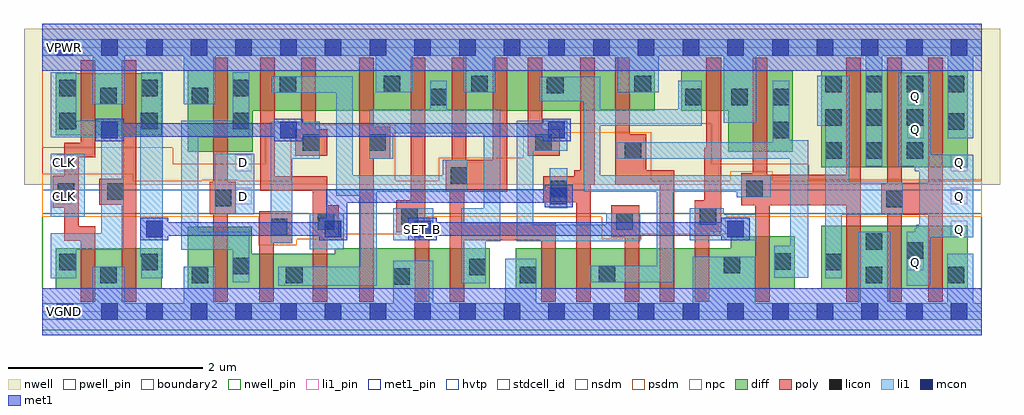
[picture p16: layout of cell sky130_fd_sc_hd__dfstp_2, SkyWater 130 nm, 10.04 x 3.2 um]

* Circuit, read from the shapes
.subckt sky130_fd_sc_hd__dfstp_2 CLK D Q SET_B VGND VNB VPB VPWR
XM1 VGND CLK n1 VNB sky130_fd_pr__nfet_01v8 w=0.42 l=0.15
XM2 n2 n1 VGND VNB sky130_fd_pr__nfet_01v8 w=0.42 l=0.15
XM3 n3 D VGND VNB sky130_fd_pr__nfet_01v8 w=0.64 l=0.15
XM4 n4 n1 n3 VNB sky130_fd_pr__nfet_01v8 w=0.36 l=0.15
XM5 n5 n2 n4 VNB sky130_fd_pr__nfet_01v8 w=0.36 l=0.15
XM6 VGND n6 n5 VNB sky130_fd_pr__nfet_01v8 w=0.42 l=0.15
XM7 n7 SET_B VGND VNB sky130_fd_pr__nfet_01v8 w=0.42 l=0.15
XM8 n6 n4 n7 VNB sky130_fd_pr__nfet_01v8 w=0.42 l=0.15
XM9 n8 n4 VGND VNB sky130_fd_pr__nfet_01v8 w=0.42 l=0.15
XM10 n9 n2 n8 VNB sky130_fd_pr__nfet_01v8 w=0.42 l=0.15
XM11 n10 n1 n9 VNB sky130_fd_pr__nfet_01v8 w=0.42 l=0.15
XM12 n11 n12 n10 VNB sky130_fd_pr__nfet_01v8 w=0.42 l=0.15
XM13 VGND SET_B n11 VNB sky130_fd_pr__nfet_01v8 w=0.42 l=0.15
XM14 n12 n9 VGND VNB sky130_fd_pr__nfet_01v8 w=0.54 l=0.15
XM15 VGND n9 n13 VNB sky130_fd_pr__nfet_01v8 w=0.65 l=0.15
XM16 Q n13 VGND VNB sky130_fd_pr__nfet_01v8 w=0.65 l=0.15 m=2
XM17 VPWR CLK n1 VPB sky130_fd_pr__pfet_01v8_hvt w=0.64 l=0.15
XM18 n2 n1 VPWR VPB sky130_fd_pr__pfet_01v8_hvt w=0.64 l=0.15
XM19 n3 D VPWR VPB sky130_fd_pr__pfet_01v8_hvt w=0.84 l=0.15
XM20 n4 n2 n3 VPB sky130_fd_pr__pfet_01v8_hvt w=0.42 l=0.15
XM21 n14 n1 n4 VPB sky130_fd_pr__pfet_01v8_hvt w=0.42 l=0.15
XM22 VPWR n6 n14 VPB sky130_fd_pr__pfet_01v8_hvt w=0.42 l=0.15
XM23 n6 SET_B VPWR VPB sky130_fd_pr__pfet_01v8_hvt w=0.42 l=0.15
XM24 VPWR n4 n6 VPB sky130_fd_pr__pfet_01v8_hvt w=0.42 l=0.15
XM25 n15 n4 VPWR VPB sky130_fd_pr__pfet_01v8_hvt w=0.42 l=0.15
XM26 n9 n1 n15 VPB sky130_fd_pr__pfet_01v8_hvt w=0.42 l=0.15
XM27 n16 n2 n9 VPB sky130_fd_pr__pfet_01v8_hvt w=0.42 l=0.15
XM28 VPWR n12 n16 VPB sky130_fd_pr__pfet_01v8_hvt w=0.42 l=0.15
XM29 VPWR SET_B n9 VPB sky130_fd_pr__pfet_01v8_hvt w=0.42 l=0.15
XM30 n12 n9 VPWR VPB sky130_fd_pr__pfet_01v8_hvt w=0.84 l=0.15
XM31 VPWR n9 n13 VPB sky130_fd_pr__pfet_01v8_hvt w=1 l=0.15
XM32 Q n13 VPWR VPB sky130_fd_pr__pfet_01v8_hvt w=1 l=0.15 m=2
.ends

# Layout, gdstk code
import gdstk
lib = gdstk.Library(unit=1e-6, precision=1e-09)
def R(c, l, rs):  # rectangles x0, y0, x1, y1
    for r in rs: c.add(gdstk.rectangle(r[:2], r[2:], *l))
def A(c, l, x, y, w, h, nx, ny, dx, dy):  # array of equal rectangles
    R(c, l, [(x+i*dx, y+j*dy, x+i*dx+w, y+j*dy+h) for i in range(nx) for j in range(ny)])
def P(c, l, *ps):  # polygons
    for p in ps: c.add(gdstk.Polygon(p, *l))
nwell_pin = (64, 16)
nwell = (64, 20)
diff = (65, 20)
poly = (66, 20)
licon = (66, 44)
li1_pin = (67, 16)
li1 = (67, 20)
mcon = (67, 44)
met1_pin = (68, 16)
met1 = (68, 20)
hvtp = (78, 44)
stdcell_id = (81, 4)
nsdm = (93, 44)
psdm = (94, 20)
npc = (95, 20)
pwell_pin = (122, 16)
boundary2 = (236, 0)

sky130_fd_sc_hd__dfstp_2 = lib.new_cell('sky130_fd_sc_hd__dfstp_2')
R(sky130_fd_sc_hd__dfstp_2, nwell_pin, [(0.145,2.635,0.315,2.805), (0.145,2.635,0.315,2.805)])
R(sky130_fd_sc_hd__dfstp_2, nwell, [(-0.19,1.305,9.85,2.91)])
R(sky130_fd_sc_hd__dfstp_2, diff, [(0.135,0.235,1.225,0.655), (8.01,0.235,9.52,0.885), (8.01,1.485,9.52,2.485), (0.135,1.815,1.225,2.455)])
P(sky130_fd_sc_hd__dfstp_2, diff, [(7.74,0.775),(7.08,0.775),(7.08,0.655),(4.87,0.655),(4.87,0.235),(7.74,0.235)],
  [(7.72,2.485),(6.57,2.485),(6.57,2.065),(7.055,2.065),(7.055,1.645),(7.72,1.645)],
  [(6.3,2.485),(1.495,2.485),(1.495,1.645),(2.165,1.645),(2.165,2.065),(6.3,2.065)],
  [(4.6,0.655),(3.005,0.655),(3.005,0.595),(2.155,0.595),(2.155,0.875),(1.495,0.875),(1.495,0.235),(4.6,0.235)])
P(sky130_fd_sc_hd__dfstp_2, poly, [(3.98,0.965),(3.94,0.965),(3.94,2.615),(3.79,2.615),(3.79,1.145),(3.64,1.145),(3.64,0.815),(3.83,0.815),(3.83,0.105),(3.98,0.105)],
  [(9.26,2.615),(9.11,2.615),(9.11,1.325),(8.84,1.325),(8.84,2.615),(8.69,2.615),(8.69,1.325),(8.63,1.325),(8.63,0.995),(8.69,0.995),(8.69,0.105),(8.84,0.105),(8.84,0.995),(9.11,0.995),(9.11,0.105),(9.26,0.105)],
  [(8.42,2.615),(8.27,2.615),(8.27,1.41),(7.455,1.41),(7.455,2.615),(7.305,2.615),(7.305,1.425),(7.19,1.425),(7.19,1.095),(7.33,1.095),(7.33,0.105),(7.48,0.105),(7.48,1.095),(8.27,1.095),(8.27,0.105),(8.42,0.105)],
  [(6.98,2.615),(6.83,2.615),(6.83,1.685),(6.81,1.685),(6.81,1.145),(6.71,1.145),(6.71,0.105),(6.86,0.105),(6.86,0.815),(6.98,0.815)],
  [(6.5,1.455),(6.21,1.455),(6.21,1.825),(6.04,1.825),(6.04,2.615),(5.89,2.615),(5.89,1.305),(6.35,1.305),(6.35,0.105),(6.5,0.105)],
  [(6.14,1.095),(5.85,1.095),(5.85,0.765),(5.99,0.765),(5.99,0.105),(6.14,0.105)],
  [(5.68,2.615),(5.53,2.615),(5.53,1.455),(5.47,1.455),(5.47,1.395),(5.15,1.395),(5.15,1.125),(5.49,1.125),(5.49,0.105),(5.64,0.105),(5.64,1.305),(5.68,1.305)],
  [(5.32,1.875),(5.14,1.875),(5.14,2.615),(4.99,2.615),(4.99,1.605),(5.32,1.605)],
  [(5.28,0.915),(4.34,0.915),(4.34,1.235),(4.78,1.235),(4.78,2.615),(4.63,2.615),(4.63,1.565),(4.36,1.565),(4.36,2.615),(4.21,2.615),(4.21,1.565),(4.15,1.565),(4.15,1.235),(4.19,1.235),(4.19,0.105),(4.34,0.105),(4.34,0.735),(5.13,0.735),(5.13,0.105),(5.28,0.105)],
  [(3.58,1.905),(3.41,1.905),(3.41,2.615),(3.26,2.615),(3.26,0.105),(3.41,0.105),(3.41,1.575),(3.58,1.575)],
  [(3.05,1.095),(2.93,1.095),(2.93,1.395),(2.39,1.395),(2.39,2.615),(2.24,2.615),(2.24,1.245),(2.78,1.245),(2.78,0.105),(2.93,0.105),(2.93,0.765),(3.05,0.765)],
  [(2.93,1.875),(2.81,1.875),(2.81,2.615),(2.66,2.615),(2.66,1.875),(2.6,1.875),(2.6,1.605),(2.93,1.605)],
  [(2.57,1.035),(2.23,1.035),(2.23,0.105),(2.38,0.105),(2.38,0.705),(2.57,0.705)],
  [(1.99,1.335),(1.905,1.335),(1.905,2.615),(1.755,2.615),(1.755,1.335),(1.72,1.335),(1.72,1.005),(1.755,1.005),(1.755,0.105),(1.905,0.105),(1.905,1.005),(1.99,1.005)],
  [(0.965,2.585),(0.815,2.585),(0.815,1.37),(0.585,1.37),(0.585,1.1),(0.815,1.1),(0.815,0.105),(0.965,0.105)],
  [(0.545,0.88),(0.375,0.88),(0.375,1.59),(0.545,1.59),(0.545,2.585),(0.395,2.585),(0.395,1.74),(0.225,1.74),(0.225,1.4),(0.105,1.4),(0.105,1.07),(0.225,1.07),(0.225,0.73),(0.395,0.73),(0.395,0.105),(0.545,0.105)])
A(sky130_fd_sc_hd__dfstp_2, licon, 8.05, 1.575, 0.17, 0.17, 3, 2, 0.42, 0.34)
A(sky130_fd_sc_hd__dfstp_2, licon, 8.05, 2.255, 0.17, 0.17, 4, 1, 0.42, 0)
R(sky130_fd_sc_hd__dfstp_2, licon, [(3.61,0.275,3.78,0.445), (0.595,0.295,0.765,0.465), (1.535,0.295,1.705,0.465), (2.505,0.295,2.675,0.465), (4.91,0.295,5.08,0.465), (8.47,0.295,8.64,0.465), (9.31,0.295,9.48,0.465), (5.72,0.305,5.89,0.475), (4.39,0.375,4.56,0.545), (1.955,0.385,2.125,0.555), (7.01,0.395,7.18,0.565), (0.175,0.425,0.345,0.595), (1.015,0.425,1.185,0.595), (8.05,0.425,8.22,0.595), (7.53,0.43,7.7,0.6), (8.89,0.545,9.06,0.715), (8.47,0.635,8.64,0.805), (2.35,0.785,2.52,0.955), (2.83,0.845,3,1.015), (5.9,0.845,6.07,1.015), (3.69,0.895,3.86,1.065), (6.76,0.895,6.93,1.065), (8.68,1.075,8.85,1.245), (1.77,1.085,1.94,1.255), (0.155,1.15,0.325,1.32), (0.665,1.15,0.835,1.32), (5.23,1.175,5.4,1.345), (7.24,1.175,7.41,1.345), (4.2,1.315,4.37,1.485), (5.99,1.575,6.16,1.745), (2.68,1.655,2.85,1.825), (3.36,1.655,3.53,1.825), (5.07,1.655,5.24,1.825), (7.51,1.785,7.68,1.955), (9.31,1.87,9.48,2.04), (0.175,1.875,0.345,2.045), (1.015,1.875,1.185,2.045), (1.955,1.875,2.125,2.045), (3.99,2.125,4.16,2.295), (6.61,2.125,6.78,2.295), (7.085,2.125,7.255,2.295), (7.51,2.125,7.68,2.295), (0.595,2.135,0.765,2.305), (1.535,2.135,1.705,2.305), (0.175,2.215,0.345,2.385), (1.015,2.215,1.185,2.385), (1.955,2.215,2.125,2.385), (5.19,2.245,5.36,2.415), (2.44,2.25,2.61,2.42), (3.51,2.255,3.68,2.425), (4.41,2.255,4.58,2.425), (6.09,2.255,6.26,2.425)])
A(sky130_fd_sc_hd__dfstp_2, li1_pin, 9.345, 0.765, 0.17, 0.17, 1, 3, 0, 0.34)
R(sky130_fd_sc_hd__dfstp_2, li1_pin, [(0.145,-0.085,0.315,0.085), (8.895,0.425,9.065,0.595), (3.825,0.765,3.995,0.935), (0.145,1.105,0.315,1.275), (1.985,1.105,2.155,1.275), (0.145,1.445,0.315,1.615), (1.985,1.445,2.155,1.615), (8.895,1.785,9.065,1.955), (8.895,2.125,9.065,2.295), (0.145,2.635,0.315,2.805)])
R(sky130_fd_sc_hd__dfstp_2, li1, [(2.75,0.645,3.1,1.015), (3.61,0.735,4.02,1.065), (0.085,0.975,0.435,1.625), (1.77,1.005,2.18,1.625), (5.22,1.065,5.4,1.475)])
P(sky130_fd_sc_hd__dfstp_2, li1, [(7.88,1.765),(7.68,1.765),(7.68,2.375),(7.51,2.375),(7.51,1.745),(5.91,1.745),(5.91,1.575),(7.69,1.575),(7.69,0.68),(7.53,0.68),(7.53,0.35),(7.88,0.35)],
  [(8.85,1.325),(8.3,1.325),(8.3,2.425),(7.97,2.425),(7.97,1.915),(8.05,1.915),(8.05,0.345),(8.22,0.345),(8.22,0.995),(8.85,0.995)],
  [(9.66,0.085),(9.575,0.085),(9.575,0.595),(9.305,0.595),(9.305,0.085),(8.72,0.085),(8.72,0.825),(8.39,0.825),(8.39,0.085),(7.33,0.085),(7.33,0.565),(6.69,0.565),(6.69,0.085),(5.08,0.085),(5.08,0.545),(4.76,0.545),(4.76,0.085),(4.02,0.085),(4.02,0.525),(3.61,0.525),(3.61,0.085),(1.785,0.085),(1.785,0.465),(1.455,0.465),(1.455,0.085),(0.845,0.085),(0.845,0.465),(0.515,0.465),(0.515,0.085),(0,0.085),(0,-0.085),(9.66,-0.085)],
  [(7.49,1.405),(5.74,1.405),(5.74,1.915),(6.78,1.915),(6.78,2.375),(6.54,2.375),(6.54,2.085),(5.74,2.085),(5.74,2.415),(5.11,2.415),(5.11,2.165),(5.57,2.165),(5.57,1.235),(6.32,1.235),(6.32,0.475),(5.64,0.475),(5.64,0.305),(6.49,0.305),(6.49,1.235),(7.14,1.235),(7.14,1.175),(7.49,1.175)],
  [(7.34,1.005),(7.01,1.005),(7.01,1.065),(6.66,1.065),(6.66,0.735),(7.34,0.735)],
  [(6.15,1.015),(5.8,1.015),(5.8,0.895),(5.05,0.895),(5.05,1.655),(5.4,1.655),(5.4,1.965),(4.88,1.965),(4.88,0.725),(6.15,0.725)],
  [(9.66,2.805),(0,2.805),(0,2.635),(0.515,2.635),(0.515,2.135),(0.845,2.135),(0.845,2.635),(1.455,2.635),(1.455,2.135),(1.785,2.135),(1.785,2.635),(3.43,2.635),(3.43,2.255),(3.81,2.255),(3.81,2.635),(4.33,2.635),(4.33,2.255),(4.66,2.255),(4.66,2.635),(5.92,2.635),(5.92,2.255),(6.34,2.255),(6.34,2.635),(7.01,2.635),(7.01,1.945),(7.34,1.945),(7.34,2.635),(8.47,2.635),(8.47,1.495),(8.64,1.495),(8.64,2.635),(9.31,2.635),(9.31,1.785),(9.575,1.785),(9.575,2.635),(9.66,2.635)],
  [(4.71,2.085),(4.16,2.085),(4.16,2.375),(3.99,2.375),(3.99,2.085),(3.36,2.085),(3.36,1.575),(3.61,1.575),(3.61,1.835),(4.54,1.835),(4.54,1.065),(4.31,1.065),(4.31,0.295),(4.56,0.295),(4.56,0.725),(4.71,0.725)],
  [(4.37,1.565),(4.12,1.565),(4.12,1.405),(3.19,1.405),(3.19,2.42),(2.36,2.42),(2.36,2.25),(3.02,2.25),(3.02,1.195),(3.27,1.195),(3.27,0.465),(2.425,0.465),(2.425,0.265),(3.44,0.265),(3.44,1.235),(4.37,1.235)],
  [(2.85,1.955),(2.35,1.955),(2.35,0.705),(2.57,0.705),(2.57,1.575),(2.85,1.575)],
  [(2.125,0.825),(1.6,0.825),(1.6,1.795),(2.125,1.795),(2.125,2.465),(1.955,2.465),(1.955,1.965),(1.43,1.965),(1.43,0.635),(1.955,0.635),(1.955,0.305),(2.125,0.305)],
  [(0.835,1.965),(0.345,1.965),(0.345,2.465),(0.085,2.465),(0.085,1.795),(0.605,1.795),(0.605,0.805),(0.085,0.805),(0.085,0.345),(0.345,0.345),(0.345,0.635),(0.835,0.635)],
  [(1.235,2.465),(1.015,2.465),(1.015,2.045),(1.005,2.045),(1.005,0.565),(1.015,0.565),(1.015,0.345),(1.235,0.345)],
  [(9.575,1.615),(9.14,1.615),(9.14,2.46),(8.81,2.46),(8.81,1.495),(8.975,1.495),(8.975,1.445),(9.02,1.445),(9.02,0.895),(8.99,0.895),(8.99,0.855),(8.975,0.855),(8.975,0.825),(8.89,0.825),(8.89,0.265),(9.135,0.265),(9.135,0.765),(9.575,0.765)])
A(sky130_fd_sc_hd__dfstp_2, mcon, 0.145, -0.085, 0.17, 0.17, 21, 2, 0.46, 2.72)
R(sky130_fd_sc_hd__dfstp_2, mcon, [(1.065,0.765,1.235,0.935), (2.905,0.765,3.075,0.935), (3.825,0.765,3.995,0.935), (7.045,0.765,7.215,0.935), (5.225,1.105,5.395,1.275), (0.605,1.785,0.775,1.955), (2.445,1.785,2.615,1.955), (5.205,1.785,5.375,1.955)])
R(sky130_fd_sc_hd__dfstp_2, met1_pin, [(0.145,-0.085,0.315,0.085), (0.145,2.635,0.315,2.805)])
R(sky130_fd_sc_hd__dfstp_2, met1, [(0,-0.24,9.66,0.24), (0,2.48,9.66,2.96)])
P(sky130_fd_sc_hd__dfstp_2, met1, [(7.275,0.965),(6.985,0.965),(6.985,0.92),(4.055,0.92),(4.055,0.965),(3.765,0.965),(3.765,0.735),(4.055,0.735),(4.055,0.78),(6.985,0.78),(6.985,0.735),(7.275,0.735)],
  [(5.455,1.305),(5.165,1.305),(5.165,1.26),(2.92,1.26),(2.92,0.965),(2.845,0.965),(2.845,0.92),(1.295,0.92),(1.295,0.965),(1.005,0.965),(1.005,0.735),(1.295,0.735),(1.295,0.78),(2.845,0.78),(2.845,0.735),(3.135,0.735),(3.135,1.12),(5.165,1.12),(5.165,1.075),(5.455,1.075)],
  [(5.435,1.985),(5.145,1.985),(5.145,1.94),(2.675,1.94),(2.675,1.985),(2.385,1.985),(2.385,1.94),(0.835,1.94),(0.835,1.985),(0.545,1.985),(0.545,1.755),(0.835,1.755),(0.835,1.8),(2.385,1.8),(2.385,1.755),(2.675,1.755),(2.675,1.8),(5.145,1.8),(5.145,1.755),(5.435,1.755)])
R(sky130_fd_sc_hd__dfstp_2, hvtp, [(0,1.25,9.66,2.72)])
R(sky130_fd_sc_hd__dfstp_2, stdcell_id, [(0,0,9.66,2.72)])
R(sky130_fd_sc_hd__dfstp_2, nsdm, [(0,-0.19,9.66,1.015)])
P(sky130_fd_sc_hd__dfstp_2, psdm, [(9.66,2.91),(0,2.91),(0,1.685),(1.34,1.685),(1.34,1.515),(2.295,1.515),(2.295,1.935),(6.88,1.935),(6.88,1.515),(7.88,1.515),(7.88,1.355),(9.66,1.355)])
P(sky130_fd_sc_hd__dfstp_2, npc, [(9.66,1.345),(7.51,1.345),(7.51,1.445),(7.075,1.445),(7.075,1.345),(6.26,1.345),(6.26,1.845),(5.34,1.845),(5.34,1.925),(4.945,1.925),(4.945,1.585),(4.075,1.585),(4.075,1.345),(3.63,1.345),(3.63,1.925),(2.555,1.925),(2.555,1.345),(2.015,1.345),(2.015,1.355),(1.645,1.355),(1.645,1.345),(0.935,1.345),(0.935,1.42),(0,1.42),(0,0.975),(2.225,0.975),(2.225,0.685),(2.615,0.685),(2.615,0.745),(3.09,0.745),(3.09,0.795),(3.96,0.795),(3.96,0.975),(5.755,0.975),(5.755,0.745),(6.16,0.745),(6.16,0.795),(7.03,0.795),(7.03,0.975),(9.66,0.975)])
R(sky130_fd_sc_hd__dfstp_2, pwell_pin, [(0.145,-0.085,0.315,0.085), (0.145,-0.085,0.315,0.085)])
R(sky130_fd_sc_hd__dfstp_2, boundary2, [(0,0,9.66,2.72)])
sky130_fd_sc_hd__dfstp_2.add(gdstk.Label('Q', (9.43,0.85), layer=67, texttype=5))
sky130_fd_sc_hd__dfstp_2.add(gdstk.Label('Q', (9.43,1.53), layer=67, texttype=5))
sky130_fd_sc_hd__dfstp_2.add(gdstk.Label('Q', (9.43,1.19), layer=67, texttype=5))
sky130_fd_sc_hd__dfstp_2.add(gdstk.Label('D', (2.07,1.53), layer=67, texttype=5))
sky130_fd_sc_hd__dfstp_2.add(gdstk.Label('D', (2.07,1.19), layer=67, texttype=5))
sky130_fd_sc_hd__dfstp_2.add(gdstk.Label('VPWR', (0.23,2.72), layer=67, texttype=5))
sky130_fd_sc_hd__dfstp_2.add(gdstk.Label('Q', (8.98,2.21), layer=67, texttype=5))
sky130_fd_sc_hd__dfstp_2.add(gdstk.Label('Q', (8.98,1.87), layer=67, texttype=5))
sky130_fd_sc_hd__dfstp_2.add(gdstk.Label('Q', (8.98,0.51), layer=67, texttype=5))
sky130_fd_sc_hd__dfstp_2.add(gdstk.Label('SET_B', (3.91,0.85), layer=67, texttype=5))
sky130_fd_sc_hd__dfstp_2.add(gdstk.Label('CLK', (0.23,1.53), layer=67, texttype=5))
sky130_fd_sc_hd__dfstp_2.add(gdstk.Label('CLK', (0.23,1.19), layer=67, texttype=5))
sky130_fd_sc_hd__dfstp_2.add(gdstk.Label('VGND', (0.23,0), layer=67, texttype=5))
sky130_fd_sc_hd__dfstp_2.add(gdstk.Label('VPB', (0.23,2.72), layer=64, texttype=5))
sky130_fd_sc_hd__dfstp_2.add(gdstk.Label('VPB', (0.23,2.72), layer=64, texttype=5))
sky130_fd_sc_hd__dfstp_2.add(gdstk.Label('VNB', (0.23,0), layer=64, texttype=59))
sky130_fd_sc_hd__dfstp_2.add(gdstk.Label('VNB', (0.23,0), layer=64, texttype=59))
sky130_fd_sc_hd__dfstp_2.add(gdstk.Label('VPWR', (0.23,2.72), layer=68, texttype=5))
sky130_fd_sc_hd__dfstp_2.add(gdstk.Label('VGND', (0.23,0), layer=68, texttype=5))
sky130_fd_sc_hd__dfstp_2.add(gdstk.Label('dfstp_2', (0,0), layer=83, texttype=44))

lib.write_gds('sky130_fd_sc_hd__dfstp_2.gds')
